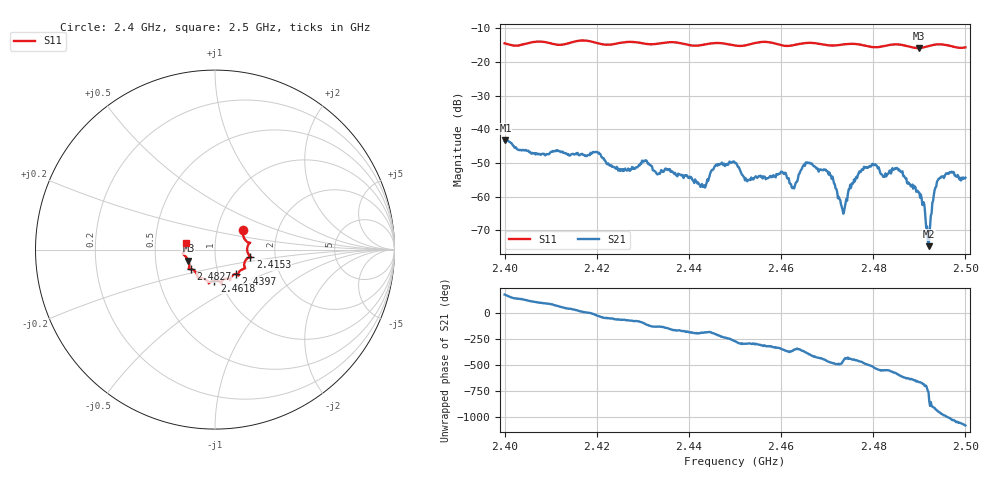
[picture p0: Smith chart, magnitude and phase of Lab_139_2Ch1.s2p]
# Hz S RI R 50
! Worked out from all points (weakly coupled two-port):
!   601 points, 2.4 GHz to 2.5 GHz, reference 50 ohm
!   highest |S21| = -43.34 dB at 2.4002 GHz (marker M1); lowest = -74.7 dB at 2.492 GHz (marker M2)
!   lowest |S11| = -15.9 dB at 2.4898 GHz (marker M3), VSWR 1.38, Z = 36.9 - j4.63 ohm
!   |S11| at or under -10 dB: start of sweep to end of sweep
!   S12 and S22 are empty: the file has one direction only
!   S11 on the Smith chart (normalised r, x): 2.4 GHz: 1.33, +0.30; 2.4153 GHz: 1.48, -0.12; 2.4397 GHz: 1.21, -0.34; 2.4618 GHz: 0.94, -0.33; 2.4827 GHz: 0.75, -0.17; 2.5 GHz: 0.72, +0.06
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2.4e9  0.1552 0.1071  -0.00664 0.00042  0 0  0 0
2.400167e9  0.1548 0.1047  -0.00678 0.000671  0 0  0 0
2.415333e9  0.1969 -0.0396  0.00371 0.0021  0 0  0 0
2.416667e9  0.2026 -0.0436  0.00416 0.00095  0 0  0 0
2.433333e9  0.1297 -0.1337  -0.00146 -0.00161  0 0  0 0
2.439667e9  0.1168 -0.136  -0.00199 8.49e-05  0 0  0 0
2.443167e9  0.0878 -0.1563  -0.00138 0.000236  0 0  0 0
2.446e9  0.0844 -0.1706  -0.00266 0.0014  0 0  0 0
2.45e9  0.0652 -0.162  8.99e-05 0.00313  0 0  0 0
2.452667e9  0.0403 -0.1733  0.000686 0.00154  0 0  0 0
2.461833e9  -0.00339 -0.1728  0.00153 -0.000406  0 0  0 0
2.466667e9  -0.0349 -0.188  0.00203 -0.00234  0 0  0 0
2.470667e9  -0.0547 -0.1663  -0.000838 -0.00188  0 0  0 0
2.4735e9  -0.085 -0.1598  -9.33e-05 -0.000549  0 0  0 0
2.477833e9  -0.0984 -0.1461  -0.00125 -0.00216  0 0  0 0
2.482667e9  -0.1349 -0.1087  -0.00217 0.000403  0 0  0 0
2.483333e9  -0.14 -0.1084  -0.0022 0.000416  0 0  0 0
2.4855e9  -0.1464 -0.1062  -0.00145 0.00198  0 0  0 0
2.489833e9  -0.148 -0.0613  0.000614 0.000972  0 0  0 0
2.492e9  -0.1678 -0.0341  0.000142 -0.000117  0 0  0 0
2.494333e9  -0.1807 -0.0214  -0.00111 0.00147  0 0  0 0
2.5e9  -0.1594 0.0386  0.00191 1.22e-05  0 0  0 0
